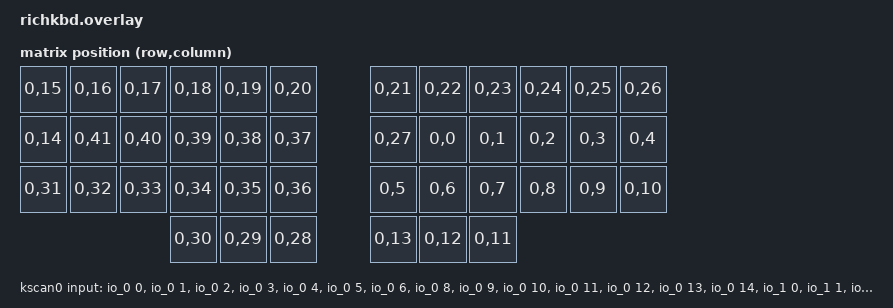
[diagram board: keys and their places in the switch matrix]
/*
 * Copyright (c) 2021 The ZMK Contributors
 *
 * SPDX-License-Identifier: MIT
 */

#include <dt-bindings/zmk/matrix_transform.h>

/ {

    chosen {
        zmk,kscan = &kscan0;
        zmk,matrix_transform = &default_transform;
    };

    default_transform: keymap_transform_0 {
        compatible = "zmk,matrix-transform";
        columns = <42>;
        rows = <1>;
        map = <
RC(0,15) RC(0,16) RC(0,17) RC(0,18) RC(0,19) RC(0,20) /**/ RC(0,21) RC(0,22) RC(0,23) RC(0,24) RC(0,25) RC(0,26)
RC(0,14) RC(0,41) RC(0,40) RC(0,39) RC(0,38) RC(0,37) /**/ RC(0,27) RC(0, 0) RC(0, 1) RC(0, 2) RC(0, 3) RC(0, 4)
RC(0,31) RC(0,32) RC(0,33) RC(0,34) RC(0,35) RC(0,36) /**/ RC(0, 5) RC(0, 6) RC(0, 7) RC(0, 8) RC(0, 9) RC(0,10)
                           RC(0,30) RC(0,29) RC(0,28) /**/ RC(0,13) RC(0,12) RC(0,11)
        >;
    };

    kscan0: kscan {
        compatible = "zmk,kscan-gpio-direct";
        interrupt-gpios = <&xiao_d 0 (GPIO_ACTIVE_LOW | GPIO_PULL_UP)>;
        input-gpios =
           <&io_0  0 (GPIO_ACTIVE_LOW | GPIO_PULL_UP)>,  // 0
           <&io_0  1 (GPIO_ACTIVE_LOW | GPIO_PULL_UP)>,  // 1
           <&io_0  2 (GPIO_ACTIVE_LOW | GPIO_PULL_UP)>,  // 2
           <&io_0  3 (GPIO_ACTIVE_LOW | GPIO_PULL_UP)>,  // 3
           <&io_0  4 (GPIO_ACTIVE_LOW | GPIO_PULL_UP)>,  // 4
           <&io_0  5 (GPIO_ACTIVE_LOW | GPIO_PULL_UP)>,  // 5
           <&io_0  6 (GPIO_ACTIVE_LOW | GPIO_PULL_UP)>,  // 6
           <&io_0  8 (GPIO_ACTIVE_LOW | GPIO_PULL_UP)>,  // 7
           <&io_0  9 (GPIO_ACTIVE_LOW | GPIO_PULL_UP)>,  // 8
           <&io_0  10 (GPIO_ACTIVE_LOW | GPIO_PULL_UP)>, // 9
           <&io_0  11 (GPIO_ACTIVE_LOW | GPIO_PULL_UP)>, // 10
           <&io_0  12 (GPIO_ACTIVE_LOW | GPIO_PULL_UP)>, // 11
           <&io_0  13 (GPIO_ACTIVE_LOW | GPIO_PULL_UP)>, // 12
           <&io_0  14 (GPIO_ACTIVE_LOW | GPIO_PULL_UP)>, // 13
           <&io_1  0 (GPIO_ACTIVE_LOW | GPIO_PULL_UP)>,  // 14
           <&io_1  1 (GPIO_ACTIVE_LOW | GPIO_PULL_UP)>,  // 15
           <&io_1  2 (GPIO_ACTIVE_LOW | GPIO_PULL_UP)>,  // 16
           <&io_1  3 (GPIO_ACTIVE_LOW | GPIO_PULL_UP)>,  // 17
           <&io_1  4 (GPIO_ACTIVE_LOW | GPIO_PULL_UP)>,  // 18
           <&io_1  5 (GPIO_ACTIVE_LOW | GPIO_PULL_UP)>,  // 19
           <&io_1  6 (GPIO_ACTIVE_LOW | GPIO_PULL_UP)>,  // 20
           <&io_1  8 (GPIO_ACTIVE_LOW | GPIO_PULL_UP)>,  // 21
           <&io_1  9 (GPIO_ACTIVE_LOW | GPIO_PULL_UP)>,  // 22
           <&io_1  10 (GPIO_ACTIVE_LOW | GPIO_PULL_UP)>, // 23
           <&io_1  11 (GPIO_ACTIVE_LOW | GPIO_PULL_UP)>, // 24
           <&io_1  12 (GPIO_ACTIVE_LOW | GPIO_PULL_UP)>, // 25
           <&io_1  13 (GPIO_ACTIVE_LOW | GPIO_PULL_UP)>, // 26
           <&io_1  14 (GPIO_ACTIVE_LOW | GPIO_PULL_UP)>, // 27
           <&io_2  0 (GPIO_ACTIVE_LOW | GPIO_PULL_UP)>,  // 28
           <&io_2  1 (GPIO_ACTIVE_LOW | GPIO_PULL_UP)>,  // 29
           <&io_2  2 (GPIO_ACTIVE_LOW | GPIO_PULL_UP)>,  // 30
           <&io_2  3 (GPIO_ACTIVE_LOW | GPIO_PULL_UP)>,  // 31
           <&io_2  4 (GPIO_ACTIVE_LOW | GPIO_PULL_UP)>,  // 32
           <&io_2  5 (GPIO_ACTIVE_LOW | GPIO_PULL_UP)>,  // 33
           <&io_2  6 (GPIO_ACTIVE_LOW | GPIO_PULL_UP)>,  // 34
           <&io_2  8 (GPIO_ACTIVE_LOW | GPIO_PULL_UP)>,  // 35
           <&io_2  9 (GPIO_ACTIVE_LOW | GPIO_PULL_UP)>,  // 36
           <&io_2  10 (GPIO_ACTIVE_LOW | GPIO_PULL_UP)>, // 37
           <&io_2  11 (GPIO_ACTIVE_LOW | GPIO_PULL_UP)>, // 38
           <&io_2  12 (GPIO_ACTIVE_LOW | GPIO_PULL_UP)>, // 39
           <&io_2  13 (GPIO_ACTIVE_LOW | GPIO_PULL_UP)>, // 40
           <&io_2  14 (GPIO_ACTIVE_LOW | GPIO_PULL_UP)>  // 41
       ;
    };
};

&xiao_i2c {
    status = "okay";
    clock-frequency = <I2C_BITRATE_FAST>;

    io_0: mcp23017@20 {
        compatible = "microchip,mcp230xx";
        status = "okay";
        gpio-controller;
        reg = <0x20>;
        #gpio-cells = <2>; 
        ngpios = <16>;
    };

    io_1: mcp23017@21 {
        compatible = "microchip,mcp230xx";
        status = "okay";
        gpio-controller;
        reg = <0x21>;
        #gpio-cells = <2>; 
        ngpios = <16>;
    };

   io_2: mcp23017@22 {
        compatible = "microchip,mcp230xx";
        status = "okay";
        gpio-controller;
        reg = <0x22>;
        #gpio-cells = <2>; 
        ngpios = <16>;
    };
};
